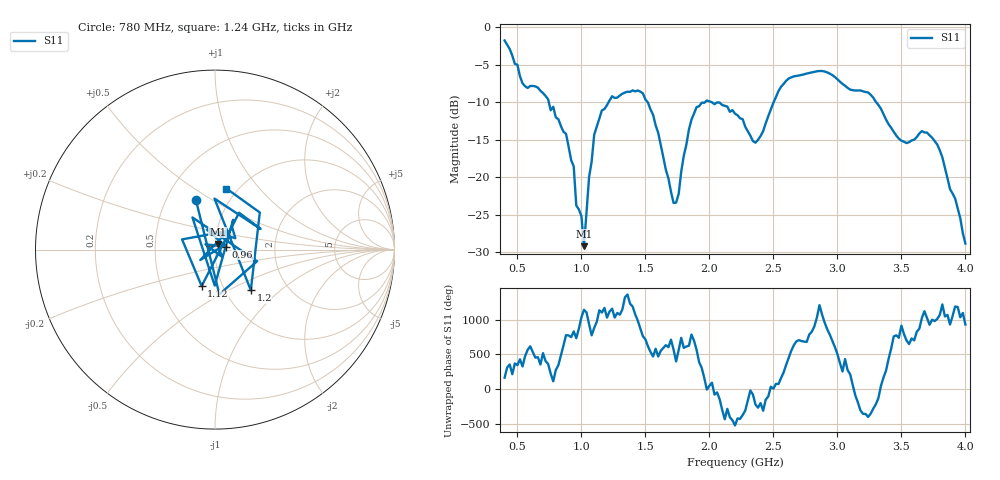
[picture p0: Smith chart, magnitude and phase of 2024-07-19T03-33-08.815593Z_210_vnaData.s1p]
!Created with skrf (http://scikit-rf.org).
# Hz S RI R 50.0
!freq ReS11 ImS11
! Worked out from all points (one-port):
!   181 points, 400 MHz to 4 GHz, reference 50 ohm
!   lowest |S11| = -29.2 dB at 1.02 GHz (marker M1), VSWR 1.07, Z = 51.5 + j3.21 ohm
!   |S11| at or under -10 dB: 745.1 MHz to 1.213 GHz (467.8 MHz wide, 47.8 % of centre); 2.016 GHz to 2.502 GHz (486.6 MHz wide, 21.5 % of centre); 3.302 GHz to end of sweep (the widest 3 of 4)
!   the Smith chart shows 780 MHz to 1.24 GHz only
!   S11 on the Smith chart (normalised r, x): 780 MHz: 0.70, +0.42; 960 MHz: 1.13, +0.04; 1.12 GHz: 0.80, -0.34; 1.2 GHz: 1.31, -0.66; 1.24 GHz: 0.89, +0.69
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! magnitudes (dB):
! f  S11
! 400 MHz  -1.8
! 540 MHz  -7.5
! 780 MHz  -10.6
! 860 MHz  -13.9
! 940 MHz  -18.6
! 960 MHz  -23.8
! 1 GHz  -25.2
! 1.02 GHz  -29.2
! 1.06 GHz  -20.0
! 1.12 GHz  -13.3
! 1.2 GHz  -10.4
! 1.24 GHz  -9.2
! 1.3 GHz  -9.1
! 1.48 GHz  -8.8
! 1.6 GHz  -14.1
! 1.72 GHz  -23.4
! 1.76 GHz  -22.2
! 1.84 GHz  -13.6
! 1.9 GHz  -10.7
! 2.2 GHz  -11.5
! 2.36 GHz  -15.4
! 2.66 GHz  -6.6
! 3.1 GHz  -8.3
! 3.26 GHz  -9.0
! 3.56 GHz  -15.3
! 3.66 GHz  -13.9
! 3.78 GHz  -15.6
! 4 GHz  -28.8
